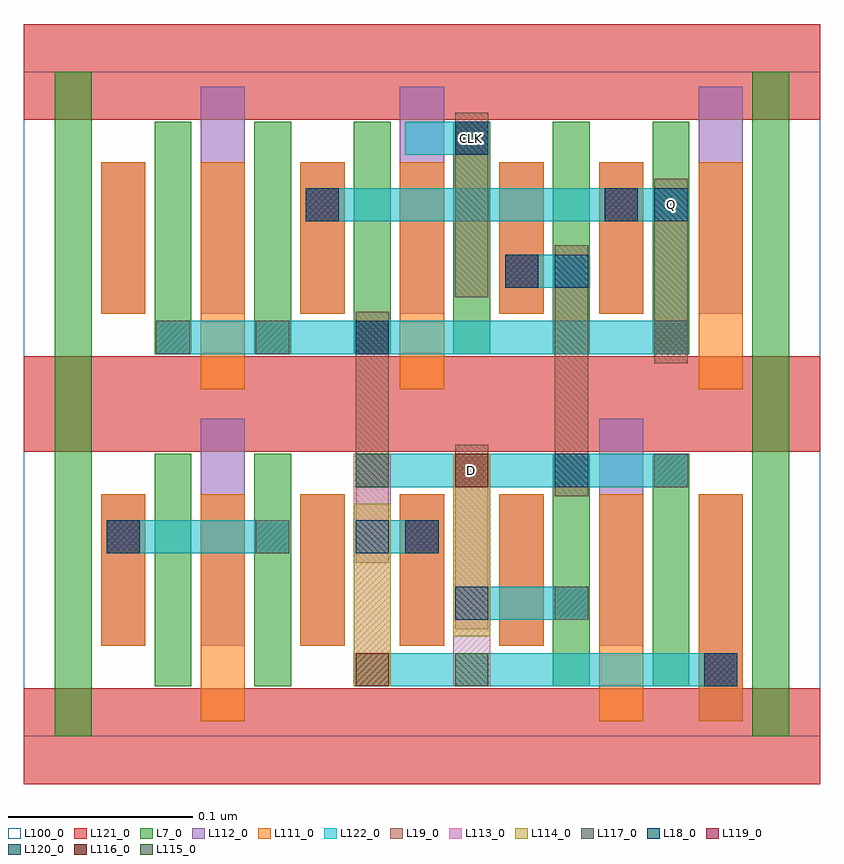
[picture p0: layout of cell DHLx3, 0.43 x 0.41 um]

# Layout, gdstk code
import gdstk
lib = gdstk.Library(unit=1e-6, precision=2.5e-10)
def R(c, l, rs):  # rectangles x0, y0, x1, y1
    for r in rs: c.add(gdstk.rectangle(r[:2], r[2:], *l))
def A(c, l, x, y, w, h, nx, ny, dx, dy):  # array of equal rectangles
    R(c, l, [(x+i*dx, y+j*dy, x+i*dx+w, y+j*dy+h) for i in range(nx) for j in range(ny)])
L7_0 = (7, 0)
L18_0 = (18, 0)
L19_0 = (19, 0)
L100_0 = (100, 0)
L111_0 = (111, 0)
L112_0 = (112, 0)
L113_0 = (113, 0)
L114_0 = (114, 0)
L115_0 = (115, 0)
L116_0 = (116, 0)
L117_0 = (117, 0)
L119_0 = (119, 0)
L120_0 = (120, 0)
L121_0 = (121, 0)
L122_0 = (122, 0)

dhlx3 = lib.new_cell('DHLx3')
A(dhlx3, L7_0, 0.071, 0.207, 0.02, 0.126, 6, 1, 0.054, 0)
R(dhlx3, L7_0, [(0.017,0,0.037,0.18), (0.395,0,0.415,0.18), (0.071,0.027,0.091,0.153), (0.125,0.027,0.145,0.153), (0.287,0.027,0.307,0.153), (0.341,0.027,0.361,0.153), (0.017,0.18,0.037,0.36), (0.395,0.18,0.415,0.36)])
R(dhlx3, L18_0, [(0.234,0.063,0.252,0.081), (0.18,0.099,0.198,0.117), (0.288,0.135,0.306,0.153), (0.18,0.207,0.198,0.225), (0.288,0.243,0.306,0.261), (0.342,0.279,0.36,0.297), (0.234,0.315,0.252,0.333)])
R(dhlx3, L19_0, [(0.234,0.058,0.252,0.158), (0.18,0.094,0.198,0.23), (0.288,0.13,0.306,0.266), (0.342,0.202,0.36,0.302), (0.234,0.238,0.252,0.338)])
R(dhlx3, L100_0, [(0,0,0.432,0.36)])
A(dhlx3, L111_0, 0.15, 0.049, 0.024, 0.082, 3, 1, 0.054, 0)
A(dhlx3, L111_0, 0.042, 0.229, 0.024, 0.082, 3, 1, 0.108, 0)
R(dhlx3, L111_0, [(0.096,0.008,0.12,0.131), (0.312,0.008,0.336,0.131), (0.366,0.008,0.39,0.131), (0.042,0.049,0.066,0.131), (0.096,0.188,0.12,0.311), (0.204,0.188,0.228,0.311), (0.366,0.188,0.39,0.311), (0.312,0.229,0.336,0.311)])
A(dhlx3, L112_0, 0.15, 0.049, 0.024, 0.082, 3, 1, 0.054, 0)
A(dhlx3, L112_0, 0.042, 0.229, 0.024, 0.082, 3, 1, 0.108, 0)
R(dhlx3, L112_0, [(0.366,0.008,0.39,0.131), (0.042,0.049,0.066,0.131), (0.096,0.049,0.12,0.172), (0.312,0.049,0.336,0.172), (0.096,0.229,0.12,0.352), (0.204,0.229,0.228,0.352), (0.312,0.229,0.336,0.311), (0.366,0.229,0.39,0.352)])
R(dhlx3, L113_0, [(0.179,0.027,0.199,0.153), (0.233,0.027,0.253,0.153)])
R(dhlx3, L114_0, [(0.179,0.027,0.199,0.126), (0.233,0.054,0.253,0.153)])
R(dhlx3, L115_0, [(0.234,0.027,0.252,0.045), (0.18,0.135,0.198,0.153)])
R(dhlx3, L116_0, [(0.18,0.027,0.198,0.045), (0.234,0.135,0.252,0.153)])
A(dhlx3, L117_0, 0.072, 0.207, 0.018, 0.018, 3, 1, 0.054, 0)
R(dhlx3, L117_0, [(0.288,0.063,0.306,0.081), (0.126,0.099,0.144,0.117), (0.342,0.135,0.36,0.153), (0.342,0.207,0.36,0.225), (0.234,0.315,0.252,0.333)])
R(dhlx3, L119_0, [(0.369,0.027,0.387,0.045), (0.045,0.099,0.063,0.117), (0.207,0.099,0.225,0.117), (0.261,0.243,0.279,0.261), (0.153,0.279,0.171,0.297), (0.315,0.279,0.333,0.297)])
R(dhlx3, L120_0, [(0.369,0.027,0.387,0.045), (0.045,0.099,0.063,0.117), (0.207,0.099,0.225,0.117), (0.261,0.243,0.279,0.261), (0.153,0.279,0.171,0.297), (0.315,0.279,0.333,0.297)])
A(dhlx3, L121_0, 0, -0.026, 0.432, 0.052, 1, 3, 0, 0.18)
R(dhlx3, L122_0, [(0.18,0.027,0.387,0.045), (0.234,0.063,0.306,0.081), (0.045,0.099,0.144,0.117), (0.18,0.099,0.225,0.117), (0.18,0.135,0.36,0.153), (0.072,0.207,0.36,0.225), (0.261,0.243,0.306,0.261), (0.153,0.279,0.36,0.297), (0.207,0.315,0.252,0.333)])
dhlx3.add(gdstk.Label('Q', (0.351,0.288), layer=19, texttype=251))
dhlx3.add(gdstk.Label('D', (0.243,0.144), layer=19, texttype=251))
dhlx3.add(gdstk.Label('CLK', (0.243,0.324), layer=19, texttype=251))

lib.write_gds('DHLx3.gds')
